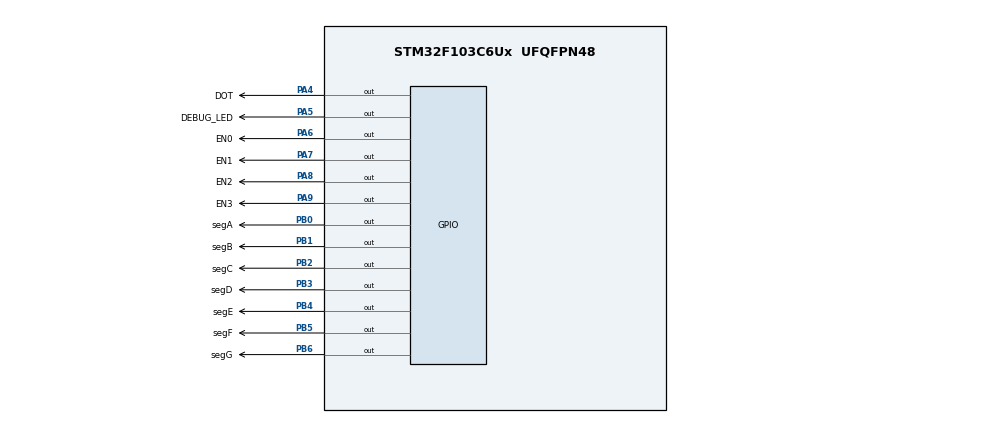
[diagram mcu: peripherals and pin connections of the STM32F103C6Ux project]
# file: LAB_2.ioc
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Mcu.Family=STM32F1
Mcu.Name=STM32F103C6Ux
Mcu.Package=UFQFPN48
NVIC.PriorityGroup=NVIC_PRIORITYGROUP_4
NVIC.TIM2_IRQn=true\:0\:0\:false\:false\:true\:true\:true
PA4.GPIO_Label=DOT
PA4.Signal=GPIO_Output
PA5.GPIO_Label=DEBUG_LED
PA5.Signal=GPIO_Output
PA6.GPIO_Label=EN0
PA6.Signal=GPIO_Output
PA7.GPIO_Label=EN1
PA7.Signal=GPIO_Output
PA8.GPIO_Label=EN2
PA8.Signal=GPIO_Output
PA9.GPIO_Label=EN3
PA9.Signal=GPIO_Output
PB0.GPIO_Label=segA
PB0.Signal=GPIO_Output
PB1.GPIO_Label=segB
PB1.Signal=GPIO_Output
PB2.GPIO_Label=segC
PB2.Signal=GPIO_Output
PB3.GPIO_Label=segD
PB3.Signal=GPIO_Output
PB4.GPIO_Label=segE
PB4.Signal=GPIO_Output
PB5.GPIO_Label=segF
PB5.Signal=GPIO_Output
PB6.GPIO_Label=segG
PB6.Signal=GPIO_Output
ProjectManager.HeapSize=0x200
ProjectManager.StackSize=0x400
ProjectManager.TargetToolchain=STM32CubeIDE
RCC.APB1Freq_Value=8000000
RCC.APB2Freq_Value=8000000
TIM2.Period=9
TIM2.Prescaler=7999
VP_SYS_VS_ND.Mode=No_Debug
VP_TIM2_VS_ClockSourceINT.Mode=Internal
board=custom

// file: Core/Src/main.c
/* USER CODE BEGIN Header */
/**
 ******************************************************************************
 * @file           : main.c
 * @brief          : Main program body
 ******************************************************************************
 * @attention
 *
 * <h2><center>&copy; Copyright (c) 2023 STMicroelectronics.
 * All rights reserved.</center></h2>
 *
 * This software component is licensed by ST under BSD 3-Clause license,
 * the "License"; You may not use this file except in compliance with the
 * License. You may obtain a copy of the License at:
 *                        opensource.org/licenses/BSD-3-Clause
 *
 ******************************************************************************
 */
/* USER CODE END Header */
#include "main.h"

/* USER CODE BEGIN Includes */
#include "software_timer.h"
#include "global.h"
#include "display7SEG.h"
#include "updateClock.h"
/* USER CODE END Includes */

TIM_HandleTypeDef htim2;

void SystemClock_Config(void);
static void MX_GPIO_Init(void);
static void MX_TIM2_Init(void);

int main(void) {

	/* MCU Configuration--------------------------------------------------------*/

	/* Reset of all peripherals, Initializes the Flash interface and the Systick. */
	HAL_Init();

	/* Configure the system clock */
	SystemClock_Config();

	/* Initialize all configured peripherals */
	MX_GPIO_Init();
	MX_TIM2_Init();
	/* USER CODE BEGIN 2 */
	HAL_TIM_Base_Start_IT(&htim2);
	/* USER CODE END 2 */

	/* Infinite loop */
	/* USER CODE BEGIN WHILE */
	setTimer0(100);
	setTimer1(25);
	setTimer2(100);
	while (1) {
		/* USER CODE END WHILE */

		/* USER CODE BEGIN 3 */
		if (index_led >= MAX_LED) {
			index_led = 0;
		}

		if (timer0_flag) {
			HAL_GPIO_TogglePin(DEBUG_LED_GPIO_Port, DEBUG_LED_Pin);
			HAL_GPIO_TogglePin(DOT_GPIO_Port, DOT_Pin);
			setTimer0(100);
		}

		if (timer1_flag) {
			update7SEG(index_led++);
			setTimer1(25);
		}

		if (timer2_flag) {
			second++;
			if (second >= 60) {
				second = 0;
				minute++;
			}
			if (minute >= 60) {
				minute = 0;
				hour++;
			}
			if (hour >= 24) {
				hour = 0;
			}
			updateClockBuffer();
			setTimer2(100);
		}
	}
	/* USER CODE END 3 */
}

void SystemClock_Config(void) {
	RCC_OscInitTypeDef RCC_OscInitStruct = { 0 };
	RCC_ClkInitTypeDef RCC_ClkInitStruct = { 0 };

	/** Initializes the RCC Oscillators according to the specified parameters
	 * in the RCC_OscInitTypeDef structure.
	 */
	RCC_OscInitStruct.OscillatorType = RCC_OSCILLATORTYPE_HSI;
	RCC_OscInitStruct.HSIState = RCC_HSI_ON;
	RCC_OscInitStruct.HSICalibrationValue = RCC_HSICALIBRATION_DEFAULT;
	RCC_OscInitStruct.PLL.PLLState = RCC_PLL_NONE;
	if (HAL_RCC_OscConfig(&RCC_OscInitStruct) != HAL_OK) {
		Error_Handler();
	}
	/** Initializes the CPU, AHB and APB buses clocks
	 */
	RCC_ClkInitStruct.ClockType = RCC_CLOCKTYPE_HCLK | RCC_CLOCKTYPE_SYSCLK
			| RCC_CLOCKTYPE_PCLK1 | RCC_CLOCKTYPE_PCLK2;
	RCC_ClkInitStruct.SYSCLKSource = RCC_SYSCLKSOURCE_HSI;
	RCC_ClkInitStruct.AHBCLKDivider = RCC_SYSCLK_DIV1;
	RCC_ClkInitStruct.APB1CLKDivider = RCC_HCLK_DIV1;
	RCC_ClkInitStruct.APB2CLKDivider = RCC_HCLK_DIV1;

	if (HAL_RCC_ClockConfig(&RCC_ClkInitStruct, FLASH_LATENCY_0) != HAL_OK) {
		Error_Handler();
	}
}

static void MX_TIM2_Init(void) {

	TIM_ClockConfigTypeDef sClockSourceConfig = { 0 };
	TIM_MasterConfigTypeDef sMasterConfig = { 0 };

	htim2.Instance = TIM2;
	htim2.Init.Prescaler = 7999;
	htim2.Init.CounterMode = TIM_COUNTERMODE_UP;
	htim2.Init.Period = 9;
	htim2.Init.ClockDivision = TIM_CLOCKDIVISION_DIV1;
	htim2.Init.AutoReloadPreload = TIM_AUTORELOAD_PRELOAD_DISABLE;
	if (HAL_TIM_Base_Init(&htim2) != HAL_OK) {
		Error_Handler();
	}
	sClockSourceConfig.ClockSource = TIM_CLOCKSOURCE_INTERNAL;
	if (HAL_TIM_ConfigClockSource(&htim2, &sClockSourceConfig) != HAL_OK) {
		Error_Handler();
	}
	sMasterConfig.MasterOutputTrigger = TIM_TRGO_RESET;
	sMasterConfig.MasterSlaveMode = TIM_MASTERSLAVEMODE_DISABLE;
	if (HAL_TIMEx_MasterConfigSynchronization(&htim2, &sMasterConfig) != HAL_OK) {
		Error_Handler();
	}

}

static void MX_GPIO_Init(void) {
	GPIO_InitTypeDef GPIO_InitStruct = { 0 };

	/* GPIO Ports Clock Enable */
	__HAL_RCC_GPIOA_CLK_ENABLE();
	__HAL_RCC_GPIOB_CLK_ENABLE();

	/*Configure GPIO pin Output Level */
	HAL_GPIO_WritePin(GPIOA,
	DOT_Pin | DEBUG_LED_Pin | EN0_Pin | EN1_Pin | EN2_Pin | EN3_Pin,
			GPIO_PIN_RESET);

	/*Configure GPIO pin Output Level */
	HAL_GPIO_WritePin(GPIOB,
	segA_Pin | segB_Pin | segC_Pin | segD_Pin | segE_Pin | segF_Pin | segG_Pin,
			GPIO_PIN_RESET);

	/*Configure GPIO pins : DOT_Pin DEBUG_LED_Pin EN0_Pin EN1_Pin
	 EN2_Pin EN3_Pin */
	GPIO_InitStruct.Pin = DOT_Pin | DEBUG_LED_Pin | EN0_Pin | EN1_Pin | EN2_Pin
			| EN3_Pin;
	GPIO_InitStruct.Mode = GPIO_MODE_OUTPUT_PP;
	GPIO_InitStruct.Pull = GPIO_NOPULL;
	GPIO_InitStruct.Speed = GPIO_SPEED_FREQ_LOW;
	HAL_GPIO_Init(GPIOA, &GPIO_InitStruct);

	/*Configure GPIO pins : segA_Pin segB_Pin segC_Pin segD_Pin
	 segE_Pin segF_Pin segG_Pin */
	GPIO_InitStruct.Pin = segA_Pin | segB_Pin | segC_Pin | segD_Pin | segE_Pin
			| segF_Pin | segG_Pin;
	GPIO_InitStruct.Mode = GPIO_MODE_OUTPUT_PP;
	GPIO_InitStruct.Pull = GPIO_NOPULL;
	GPIO_InitStruct.Speed = GPIO_SPEED_FREQ_LOW;
	HAL_GPIO_Init(GPIOB, &GPIO_InitStruct);

}

/* USER CODE BEGIN 4 */
void HAL_TIM_PeriodElapsedCallback(TIM_HandleTypeDef *htim) {
	timerRun();
}
/* USER CODE END 4 */

void Error_Handler(void) {
	__disable_irq();
	while (1) {
	}
}

/************************ (C) COPYRIGHT STMicroelectronics *****END OF FILE****/
